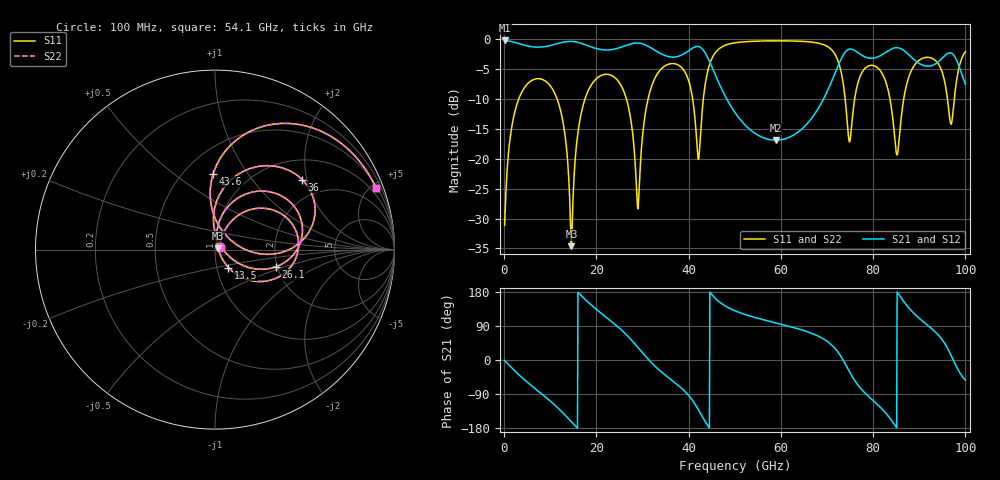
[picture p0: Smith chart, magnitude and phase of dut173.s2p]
! Touchstone file exported from HFSS 2026.1.0
!  File:  C:/ffzhzh/LocalFiles/Ansys_Project_Files/temp_test_TSV_RDL_173_1783467817_41684.aedt
!  Generated:  08:03:31 AM Jul  8, 2026
!  Design:  TSV_RDL
!  Project:  temp_test_TSV_RDL_173_1783467817_41684
! Variables:
!  h_bsmrdl = 4.36um
!  h_ox = 20um
!  h_rdl = 5um
!  h_sub = 84.61um
!  h_tmrdl = 2.33um
!  h_tsv = 84.61um
!  h_via = 3um
!  l_bsmrdl = 284.55um
!  l_sub = 3334.93um
!  l_tmrdl = 488.94um
!  m_sub = 200um
!  pitch = 48.95um
!  r_tsv = 14.88um
!  s_tmrdl = 10um
!  w_bsmrdl = 28.3um
!  w_sub = 500um
!  w_tmrdl = 13.54um
!  x_tsv_center1 = 495.71um
!  x_tsv_center2 = 808.56um
!  x_tsv_center3 = 1311.04um
!  x_tsv_center4 = 1623.89um
!  x_tsv_center5 = 2126.37um
!  x_tsv_center6 = 2439.22um
# GHz S MA R 50.000000
! Terminal data exported
! Port[1] = TM_RDL1_1_T1
! Port[2] = TM_RDL5_1_T1
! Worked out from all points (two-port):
!   1000 points, 100 MHz to 100 GHz, reference 50 ohm
!   highest |S21| = -0.22 dB at 100 MHz (marker M1); lowest = -16.9 dB at 58.9 GHz (marker M2)
!   |S21| within 3 dB of the highest: start of sweep to 44.21 GHz; 73.12 GHz to 88.57 GHz (15.45 GHz wide, 19.1 % of centre) (the widest 2 of 3)
!   lowest |S11| = -34.6 dB at 14.6 GHz (marker M3), VSWR 1.04, Z = 51.7 + j0.804 ohm
!   |S11| at or under -10 dB: start of sweep to 3.17 GHz; 11.48 GHz to 17.53 GHz (6.057 GHz wide, 41.8 % of centre); 26.5 GHz to 31.2 GHz (4.698 GHz wide, 16.3 % of centre) (the widest 3 of 7)
!   |S22| runs from -34.5 to -0.3 dB; largest |S21 - S12| = 7e-13
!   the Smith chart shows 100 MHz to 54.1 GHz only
!   S11 on the Smith chart (normalised r, x): 100 MHz: 1.05, +0.02; 13.5 GHz: 1.14, -0.23; 26.1 GHz: 1.97, -0.43; 36 GHz: 1.47, +1.87; 43.6 GHz: 0.69, +0.70; 54.1 GHz: 0.60, +5.33
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0.1  0.02781 25.2  0.975 -1.3  0.975 -1.3  0.02781 25.2
! Gamma 0 0 0 0
! Port Impedance 50 0 50 0
5.2  0.4282 26.3  0.8756 -60.4  0.8756 -60.4  0.4282 26.3
13.5  0.1248 -53.1  0.9531 -149.1  0.9531 -149.1  0.1248 -53.0
14.6  0.01858 24.7  0.9569 -163.2  0.9569 -163.2  0.01881 24.7
16.8  0.2489 73.3  0.9201 168.9  0.9201 168.9  0.249 73.3
26.1  0.3529 -15.7  0.8772 71.5  0.8772 71.5  0.3529 -15.6
29  0.03813 34.6  0.9279 33.0  0.9279 33.0  0.0393 34.6
33.4  0.525 62.1  0.7767 -24.2  0.7767 -24.2  0.5252 62.1
36  0.6226 38.8  0.7104 -50.1  0.7104 -50.1  0.6227 38.8
42.1  0.09875 41.3  0.8675 -131.0  0.8675 -131.0  0.09978 41.3
43.6  0.4212 91.5  0.7651 -162.7  0.7651 -162.7  0.4216 91.3
50.1  0.9326 35.8  0.2415 129.6  0.2415 129.6  0.9326 35.8
54.1  0.9602 21.0  0.1659 113.2  0.1659 113.2  0.9603 21.0
58.9  0.968 7.3  0.143 97.9  0.143 97.9  0.968 7.3
66.7  0.9445 -17.1  0.219 70.3  0.219 70.3  0.9446 -17.0
74.3  0.2218 -66.8  0.8053 -18.2  0.8053 -18.2  0.2238 -66.2
77.1  0.4804 9.1  0.7525 -72.2  0.7525 -72.2  0.4809 8.8
83.4  0.3529 -46.6  0.8058 -150.0  0.8058 -150.0  0.353 -46.6
85.2  0.1075 0.9  0.8488 179.5  0.8488 179.5  0.1078 0.8
90.5  0.6856 11.9  0.6109 104.7  0.6109 104.7  0.6857 11.8
96.9  0.1939 7.7  0.7651 12.1  0.7651 12.1  0.1939 7.7
100  0.7868 24.4  0.4182 -53.3  0.4182 -53.3  0.7869 24.4
